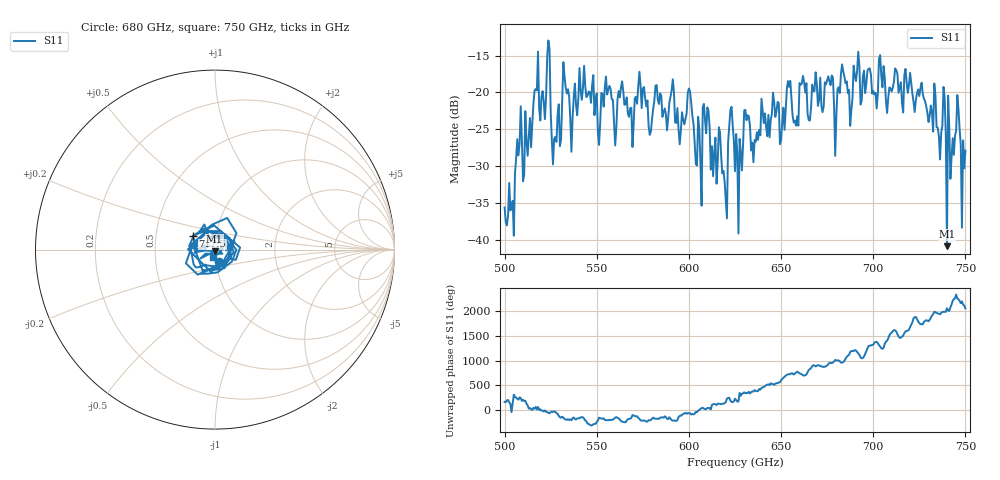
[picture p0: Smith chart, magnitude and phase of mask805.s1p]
!Created with skrf (http://scikit-rf.org).
# GHz S MA R 50.0
!freq magS11 angS11
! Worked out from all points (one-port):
!   401 points, 500 GHz to 750 GHz, reference 50 ohm
!   lowest |S11| = -40.8 dB at 740 GHz (marker M1), VSWR 1.02, Z = 49.8 - j0.885 ohm
!   |S11| at or under -10 dB: start of sweep to end of sweep
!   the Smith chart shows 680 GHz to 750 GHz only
!   S11 on the Smith chart (normalised r, x): 680 GHz: 1.03, -0.14; 717.5 GHz: 0.77, +0.12; 750 GHz: 0.98, -0.08
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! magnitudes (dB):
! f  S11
! 500 GHz  -35.6
! 516.9 GHz  -19.5
! 520.6 GHz  -19.8
! 523.8 GHz  -13.0
! 526.9 GHz  -26.3
! 531.2 GHz  -21.3
! 562.5 GHz  -20.7
! 579.4 GHz  -25.3
! 590.6 GHz  -19.7
! 593.8 GHz  -22.1
! 600.6 GHz  -19.9
! 605.6 GHz  -24.9
! 609.4 GHz  -25.5
! 619.4 GHz  -32.1
! 622.5 GHz  -22.4
! 625 GHz  -30.7
! 627.5 GHz  -26.3
! 631.2 GHz  -23.8
! 656.2 GHz  -23.1
! 676.9 GHz  -19.0
! 680 GHz  -23.1
! 683.8 GHz  -17.2
! 687.5 GHz  -24.5
! 690.6 GHz  -18.5
! 717.5 GHz  -16.8
! 718.8 GHz  -20.1
! 740 GHz  -40.8
! 750 GHz  -27.9
